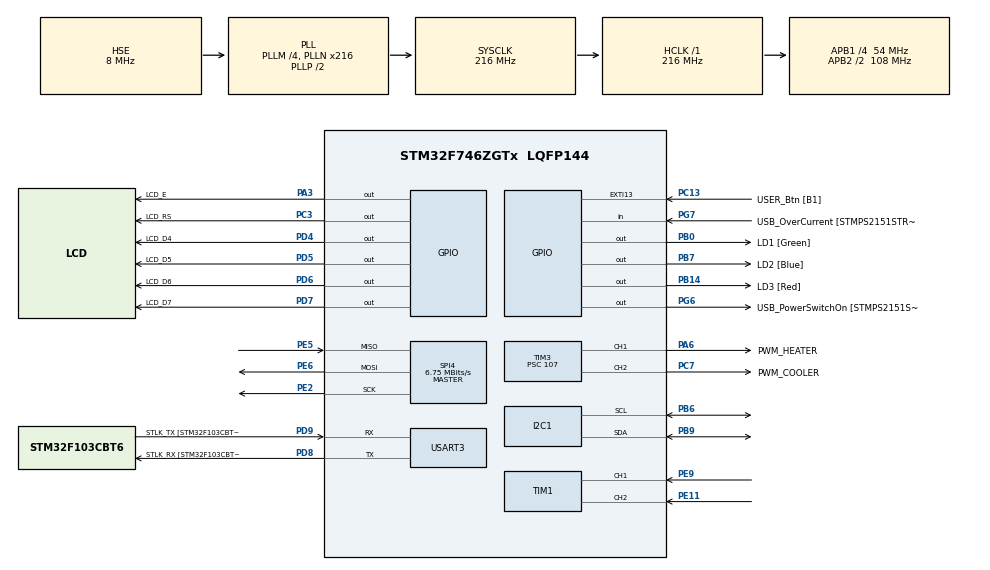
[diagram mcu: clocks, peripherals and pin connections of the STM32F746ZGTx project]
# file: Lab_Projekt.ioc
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ARM.CMSIS.5.7.0.CMSISJjCORE=true
ARM.CMSIS.5.7.0.CMSISJjDSP=Library
I2C1.Timing=0x20404768
Mcu.Family=STM32F7
Mcu.Name=STM32F746ZGTx
Mcu.Package=LQFP144
NVIC.PriorityGroup=NVIC_PRIORITYGROUP_4
NVIC.TIM2_IRQn=true\:0\:0\:false\:false\:true\:true\:true
NVIC.USART3_IRQn=true\:0\:0\:false\:false\:true\:true\:true
PA1.GPIO_Label=RMII_REF_CLK [LAN8742A-CZ-TR_REFCLK0]
PA1.Signal=ETH_REF_CLK
PA10.GPIO_Label=USB_ID
PA10.Signal=USB_OTG_FS_ID
PA11.GPIO_Label=USB_DM
PA11.Signal=USB_OTG_FS_DM
PA12.GPIO_Label=USB_DP
PA12.Signal=USB_OTG_FS_DP
PA13.GPIO_Label=TMS
PA13.Mode=Serial_Wire
PA13.Signal=SYS_JTMS-SWDIO
PA14.GPIO_Label=TCK
PA14.Mode=Serial_Wire
PA14.Signal=SYS_JTCK-SWCLK
PA2.GPIO_Label=RMII_MDIO [LAN8742A-CZ-TR_MDIO]
PA2.Signal=ETH_MDIO
PA3.GPIO_Label=LCD_E
PA3.Signal=GPIO_Output
PA6.GPIO_Label=PWM_HEATER
PA6.Signal=S_TIM3_CH1
PA7.GPIO_Label=RMII_CRS_DV [LAN8742A-CZ-TR_CRS_DV]
PA7.Signal=ETH_CRS_DV
PA8.GPIO_Label=USB_SOF [TP1]
PA8.Signal=USB_OTG_FS_SOF
PA9.GPIO_Label=USB_VBUS
PA9.Signal=USB_OTG_FS_VBUS
PB0.GPIO_Label=LD1 [Green]
PB0.Signal=GPIO_Output
PB13.GPIO_Label=RMII_TXD1 [LAN8742A-CZ-TR_TXD1]
PB13.Signal=ETH_TXD1
PB14.GPIO_Label=LD3 [Red]
PB14.Signal=GPIO_Output
PB3.GPIO_Label=SW0
PB3.Signal=SYS_JTDO-SWO
PB6.Mode=I2C
PB6.Signal=I2C1_SCL
PB7.GPIO_Label=LD2 [Blue]
PB7.Signal=GPIO_Output
PB9.Mode=I2C
PB9.Signal=I2C1_SDA
PC1.GPIO_Label=RMII_MDC [LAN8742A-CZ-TR_MDC]
PC1.Signal=ETH_MDC
PC13.GPIO_Label=USER_Btn [B1]
PC13.Signal=GPXTI13
PC14/OSC32_IN.Mode=LSE-External-Oscillator
PC14/OSC32_IN.Signal=RCC_OSC32_IN
PC15/OSC32_OUT.Mode=LSE-External-Oscillator
PC15/OSC32_OUT.Signal=RCC_OSC32_OUT
PC3.GPIO_Label=LCD_RS
PC3.Signal=GPIO_Output
PC4.GPIO_Label=RMII_RXD0 [LAN8742A-CZ-TR_RXD0]
PC4.Signal=ETH_RXD0
PC5.GPIO_Label=RMII_RXD1 [LAN8742A-CZ-TR_RXD1]
PC5.Signal=ETH_RXD1
PC7.GPIO_Label=PWM_COOLER
PC7.Signal=S_TIM3_CH2
PD4.GPIO_Label=LCD_D4
PD4.Signal=GPIO_Output
PD5.GPIO_Label=LCD_D5
PD5.Signal=GPIO_Output
PD6.GPIO_Label=LCD_D6
PD6.Signal=GPIO_Output
PD7.GPIO_Label=LCD_D7
PD7.Signal=GPIO_Output
PD8.GPIO_Label=STLK_RX [STM32F103CBT6_PA3]
PD8.Mode=Asynchronous
PD8.Signal=USART3_TX
PD9.GPIO_Label=STLK_TX [STM32F103CBT6_PA2]
PD9.Mode=Asynchronous
PD9.Signal=USART3_RX
PE11.Signal=S_TIM1_CH2
PE2.Mode=Full_Duplex_Master
PE2.Signal=SPI4_SCK
PE5.Mode=Full_Duplex_Master
PE5.Signal=SPI4_MISO
PE6.Mode=Full_Duplex_Master
PE6.Signal=SPI4_MOSI
PE9.Signal=S_TIM1_CH1
PG11.GPIO_Label=RMII_TX_EN [LAN8742A-CZ-TR_TXEN]
PG11.Signal=ETH_TX_EN
PG13.GPIO_Label=RMII_TXD0 [LAN8742A-CZ-TR_TXD0]
PG13.Signal=ETH_TXD0
PG6.GPIO_Label=USB_PowerSwitchOn [STMPS2151STR_EN]
PG6.Signal=GPIO_Output
PG7.GPIO_Label=USB_OverCurrent [STMPS2151STR_FAULT]
PG7.Signal=GPIO_Input
PH0/OSC_IN.GPIO_Label=MCO [STM32F103CBT6_PA8]
PH0/OSC_IN.Mode=HSE-External-Clock-Source
PH0/OSC_IN.Signal=RCC_OSC_IN
PH1/OSC_OUT.Mode=HSE-External-Clock-Source
PH1/OSC_OUT.Signal=RCC_OSC_OUT
ProjectManager.HeapSize=0x200
ProjectManager.StackSize=0x400
ProjectManager.TargetToolchain=STM32CubeIDE
RCC.48MHZClocksFreq_Value=24000000
RCC.AHBFreq_Value=216000000
RCC.APB1CLKDivider=RCC_HCLK_DIV4
RCC.APB1Freq_Value=54000000
RCC.APB1TimFreq_Value=108000000
RCC.APB2CLKDivider=RCC_HCLK_DIV2
RCC.APB2Freq_Value=108000000
RCC.APB2TimFreq_Value=216000000
RCC.CortexFreq_Value=216000000
RCC.HCLKFreq_Value=216000000
RCC.HSE_VALUE=8000000
RCC.HSI_VALUE=16000000
RCC.PLLM=4
RCC.PLLMUL=RCC_PLL_MUL9
RCC.PLLN=216
RCC.PLLQ=9
RCC.PLLSourceVirtual=RCC_PLLSOURCE_HSE
RCC.PRESCALERUSB=RCC_USBCLKSOURCE_PLL_DIV1_5
RCC.SYSCLKFreq_VALUE=216000000
RCC.SYSCLKSource=RCC_SYSCLKSOURCE_PLLCLK
RCC.SYSCLKSourceVirtual=RCC_SYSCLKSOURCE_PLLCLK
RCC.USBFreq_Value=48000000
RCC.VCOOutputFreq_Value=432000000
SH.S_TIM1_CH1.0=TIM1_CH1,Encoder_Interface
SH.S_TIM1_CH2.0=TIM1_CH2,Encoder_Interface
SH.S_TIM3_CH1.0=TIM3_CH1,PWM Generation1 CH1
SH.S_TIM3_CH2.0=TIM3_CH2,PWM Generation2 CH2
SPI4.BaudRatePrescaler=SPI_BAUDRATEPRESCALER_16
SPI4.CLKPhase=SPI_PHASE_2EDGE
SPI4.CLKPolarity=SPI_POLARITY_HIGH
SPI4.CalculateBaudRate=6.75 MBits/s
SPI4.DataSize=SPI_DATASIZE_8BIT
SPI4.Direction=SPI_DIRECTION_2LINES
SPI4.Mode=SPI_MODE_MASTER
SPI4.VirtualType=VM_MASTER
TIM1.EncoderMode=TIM_ENCODERMODE_TI12
TIM1.IC1Filter=15
TIM1.IC2Filter=15
TIM2.Period=999
TIM2.Prescaler=107
TIM3.Channel-PWM\ Generation1\ CH1=TIM_CHANNEL_1
TIM3.Channel-PWM\ Generation2\ CH2=TIM_CHANNEL_2
TIM3.Period=999
TIM3.Prescaler=107
TIM3.Pulse-PWM\ Generation1\ CH1=500
TIM3.Pulse-PWM\ Generation2\ CH2=500
TIM4.Period=999
TIM4.Prescaler=107
USART3.VirtualMode-Asynchronous=VM_ASYNC
VP_ARM.CMSIS_VS_CMSISJjCORE_5.4.0_5.7.0.Mode=CMSISJjCORE
VP_ARM.CMSIS_VS_CMSISJjDSP_1.8.0_5.7.0.Mode=CMSISJjDSP
VP_TIM2_VS_ClockSourceINT.Mode=Internal
VP_TIM3_VS_ClockSourceINT.Mode=Internal
VP_TIM4_VS_ClockSourceINT.Mode=Internal
board=NUCLEO-F746ZG

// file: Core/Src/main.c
/* USER CODE BEGIN Header */
/**
  ******************************************************************************
  * @file           : main.c
  * @brief          : Main program body
  ******************************************************************************
  * @attention
  *
  * <h2><center>&copy; Copyright (c) 2019 STMicroelectronics.
  * All rights reserved.</center></h2>
  *
  * This software component is licensed by ST under BSD 3-Clause license,
  * the "License"; You may not use this file except in compliance with the
  * License. You may obtain a copy of the License at:
  *                        opensource.org/licenses/BSD-3-Clause
  *
  ******************************************************************************
  */
/* USER CODE END Header */
#include "main.h"
#include "i2c.h"
#include "spi.h"
#include "tim.h"
#include "usart.h"
#include "gpio.h"

/* USER CODE BEGIN Includes */
#include "stdio.h"
#include "stdlib.h"
#include "bmp280.h"
#include "bmp280_add.h"
#include "string.h"
#include "arm_math.h"
#include "defs.h"
#include "lcd_config.h"

/* USER CODE END Includes */

void SystemClock_Config(void);

/* USER CODE BEGIN 0 */

//Zmienne przechowujące pomiar
	double temp = 0.0;
	int32_t temp32 = 0;
	float32_t temp_f = 0.0;

//Buffory do wyświetlania temperatury
	char dane[20];
	char num[12];
	char rx_buffer[20];
	char tempzad[20];

//Instacja filtru PID i uchyb
	arm_pid_instance_f32 pid;
	float32_t error = 0.0;

//Wypełnienie sygnałów PWM rezystora i wentylatora
	int wypelnienie_heater = 0;
	int wypelnienie_cooler = 0;

//Sygnał sterujący i wartość zadana
	float32_t u = 0;
	float32_t x_zad = 25.0;
	void HAL_TIM_PeriodElapsedCallback(TIM_HandleTypeDef *htim)
	{
		if(htim == &htim2)
		{
			BMP280_read(&temp, &temp32);
			temp_f = (float32_t)temp;
			error = x_zad - temp_f;
			u = arm_pid_f32(&pid,error)*10.0;
			if(u>=0){
			wypelnienie_heater = (int)u;
			wypelnienie_cooler = 0;
		};

		if(u<0)
		{
			wypelnienie_heater = 0;
		};

		if(u<-500)
		{
			wypelnienie_cooler = -(int)u;
		};
		__HAL_TIM_SET_COMPARE(&htim3, TIM_CHANNEL_1, wypelnienie_heater);
		__HAL_TIM_SET_COMPARE(&htim3, TIM_CHANNEL_2, wypelnienie_cooler);
		sprintf(num,"%d", temp32);
		sprintf(dane,"%c%c.%c%c\r", num[0], num[1], num[2], num[3]);

		HAL_UART_Transmit(&huart3, dane, strlen(dane), 5);

// Zadawanie temperatury enkoderem ze stopniem 0.1

		static uint16_t pozycja = 0;
		int zmiana = htim1.Instance->CNT - pozycja;
		if(zmiana >= 4 || zmiana <= -4)
		{
			zmiana /= 4;
			if(zmiana == -1) x_zad -= 0.1;
			if(zmiana == 1) x_zad += 0.1;
			if(x_zad > 45.0) x_zad = 45.0;
			if(x_zad < 25.0) x_zad = 25.0;
			pozycja = htim1.Instance->CNT;
			gcvt(x_zad, 4, tempzad);
		}

// Wyswietlanie temperatury na LCD

		LCD_SetCursor(&hlcd1, 0, 0);
		LCD_printf(&hlcd1, "TEMP: %c%c.%c%c", num[0], num[1], num[2], num[3]);
		LCD_SetCursor(&hlcd1, 1, 0);
		gcvt(x_zad, 4, tempzad);
		if(x_zad - (int)x_zad != 0)
			LCD_printf(&hlcd1, "TEMP ZAD: %s0", tempzad);
		else
			LCD_printf(&hlcd1, "TEMP ZAD: %s.00", tempzad);
		}
	}

void HAL_UART_RxCpltCallback(UART_HandleTypeDef *huart){
	if(huart == &huart3)
	{
		char* pend;
		x_zad = strtof(rx_buffer,&pend);
		gcvt(x_zad, 4, tempzad);
		HAL_UART_Receive_IT(&huart3, rx_buffer, 4);
	}
}

/* USER CODE END 0 */

int main(void)
{

  /* MCU Configuration--------------------------------------------------------*/

  /* Reset of all peripherals, Initializes the Flash interface and the Systick. */
  HAL_Init();

  /* Configure the system clock */
  SystemClock_Config();

  /* Initialize all configured peripherals */
  MX_GPIO_Init();
  MX_USART3_UART_Init();
  MX_SPI4_Init();
  MX_I2C1_Init();
  MX_TIM2_Init();
  MX_TIM3_Init();
  MX_TIM1_Init();
  MX_TIM4_Init();
  /* USER CODE BEGIN 2 */

//Inicjalizacja czujnika
  int8_t rslt = BMP280_init();

//Wystartowanie TIM2 z okresem próbkowania Ts = 62.5 ms
  uint32_t okres = OKRES_PROBKOWANIA;
  HAL_TIM_Base_Start_IT(&htim2);
  __HAL_TIM_SET_AUTORELOAD(&htim2, okres);

//Wystartowanie kanałów PWM
  HAL_TIM_PWM_Start(&htim3, TIM_CHANNEL_1);
  HAL_TIM_PWM_Start(&htim3, TIM_CHANNEL_2);
  __HAL_TIM_SET_COMPARE(&htim3, TIM_CHANNEL_1, wypelnienie_heater);
  __HAL_TIM_SET_COMPARE(&htim3, TIM_CHANNEL_2, wypelnienie_cooler);

//Wystartowanie UART3
  HAL_UART_Receive_IT(&huart3, rx_buffer, 4);

//Inicjalizacja regulatora PID
  pid.Kp = PID_KP;
  pid.Ki = PID_KI;
  pid.Kd = PID_KD;
  arm_pid_init_f32(&pid,1);

//Inicjalizacja LCD
  HAL_TIM_Base_Start_IT(&htim4);
  __HAL_TIM_SET_AUTORELOAD(&htim4, okres);
  LCD_Init(&hlcd1);

//Inicjalizacja enkodera
  HAL_TIM_Encoder_Start(&htim1, TIM_CHANNEL_ALL);
  htim1.Instance -> CNT;

  /* USER CODE END 2 */

  /* Infinite loop */
  while (1)
  {

  }
}

void SystemClock_Config(void)
{
  RCC_OscInitTypeDef RCC_OscInitStruct = {0};
  RCC_ClkInitTypeDef RCC_ClkInitStruct = {0};
  RCC_PeriphCLKInitTypeDef PeriphClkInitStruct = {0};

  /** Configure LSE Drive Capability
  */
  HAL_PWR_EnableBkUpAccess();
  /** Configure the main internal regulator output voltage
  */
  __HAL_RCC_PWR_CLK_ENABLE();
  __HAL_PWR_VOLTAGESCALING_CONFIG(PWR_REGULATOR_VOLTAGE_SCALE1);
  /** Initializes the RCC Oscillators according to the specified parameters
  * in the RCC_OscInitTypeDef structure.
  */
  RCC_OscInitStruct.OscillatorType = RCC_OSCILLATORTYPE_HSE;
  RCC_OscInitStruct.HSEState = RCC_HSE_BYPASS;
  RCC_OscInitStruct.PLL.PLLState = RCC_PLL_ON;
  RCC_OscInitStruct.PLL.PLLSource = RCC_PLLSOURCE_HSE;
  RCC_OscInitStruct.PLL.PLLM = 4;
  RCC_OscInitStruct.PLL.PLLN = 216;
  RCC_OscInitStruct.PLL.PLLP = RCC_PLLP_DIV2;
  RCC_OscInitStruct.PLL.PLLQ = 9;
  if (HAL_RCC_OscConfig(&RCC_OscInitStruct) != HAL_OK)
  {
    Error_Handler();
  }
  /** Activate the Over-Drive mode
  */
  if (HAL_PWREx_EnableOverDrive() != HAL_OK)
  {
    Error_Handler();
  }
  /** Initializes the CPU, AHB and APB buses clocks
  */
  RCC_ClkInitStruct.ClockType = RCC_CLOCKTYPE_HCLK|RCC_CLOCKTYPE_SYSCLK
                              |RCC_CLOCKTYPE_PCLK1|RCC_CLOCKTYPE_PCLK2;
  RCC_ClkInitStruct.SYSCLKSource = RCC_SYSCLKSOURCE_PLLCLK;
  RCC_ClkInitStruct.AHBCLKDivider = RCC_SYSCLK_DIV1;
  RCC_ClkInitStruct.APB1CLKDivider = RCC_HCLK_DIV4;
  RCC_ClkInitStruct.APB2CLKDivider = RCC_HCLK_DIV2;

  if (HAL_RCC_ClockConfig(&RCC_ClkInitStruct, FLASH_LATENCY_7) != HAL_OK)
  {
    Error_Handler();
  }
  PeriphClkInitStruct.PeriphClockSelection = RCC_PERIPHCLK_USART3|RCC_PERIPHCLK_I2C1;
  PeriphClkInitStruct.Usart3ClockSelection = RCC_USART3CLKSOURCE_PCLK1;
  PeriphClkInitStruct.I2c1ClockSelection = RCC_I2C1CLKSOURCE_PCLK1;
  if (HAL_RCCEx_PeriphCLKConfig(&PeriphClkInitStruct) != HAL_OK)
  {
    Error_Handler();
  }
}

void Error_Handler(void)
{
}

/************************ (C) COPYRIGHT STMicroelectronics *****END OF FILE****/
